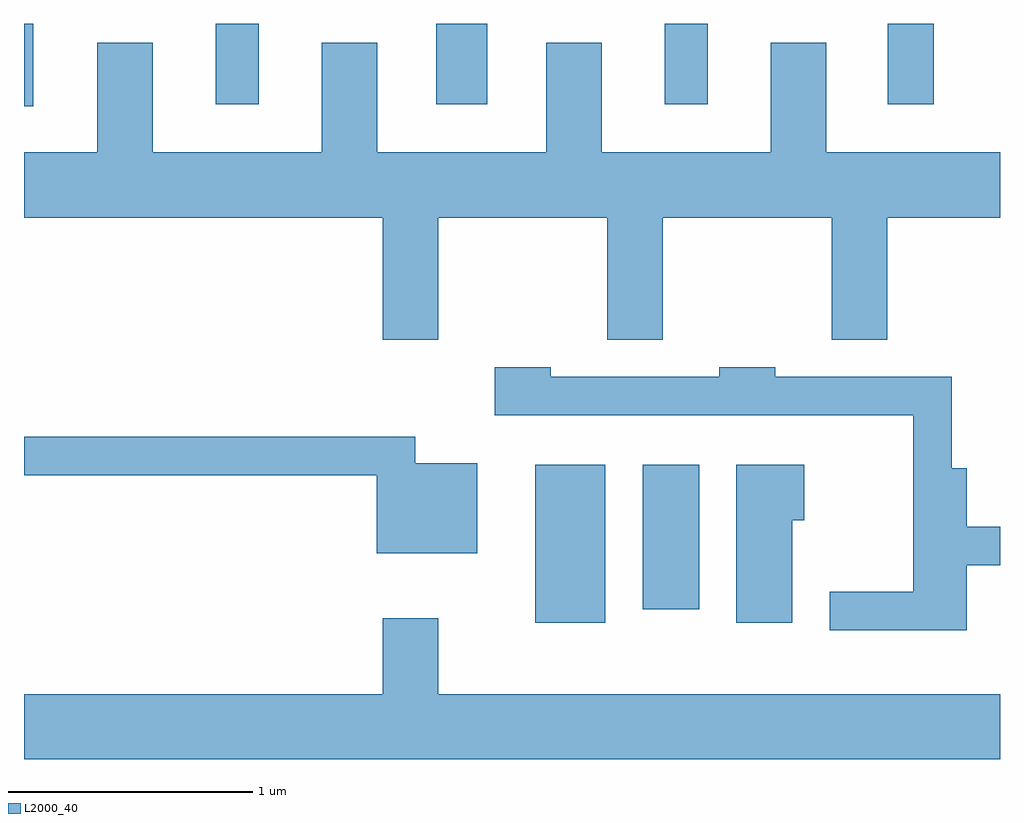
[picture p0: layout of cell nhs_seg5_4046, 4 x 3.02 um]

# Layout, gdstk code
import gdstk
lib = gdstk.Library(unit=1e-6, precision=1e-09)
def R(c, l, rs):  # rectangles x0, y0, x1, y1
    for r in rs: c.add(gdstk.rectangle(r[:2], r[2:], *l))
def P(c, l, *ps):  # polygons
    for p in ps: c.add(gdstk.Polygon(p, *l))
L2000_40 = (2000, 40)

nhs_seg5_4046 = lib.new_cell('nhs_seg5_4046')
R(nhs_seg5_4046, L2000_40, [(307.706,1419.616,307.994,1420.264), (308.146,1419.671,308.379,1420.264), (305.611,1421.733,305.649,1422.072), (306.396,1421.741,306.574,1422.072), (307.301,1421.741,307.509,1422.072), (308.236,1421.741,308.414,1422.072), (309.151,1421.741,309.339,1422.072)])
P(nhs_seg5_4046, L2000_40, [(307.309,1421.276),(308.001,1421.276),(308.001,1420.776),(308.229,1420.776),(308.229,1421.276),(308.921,1421.276),(308.921,1420.776),(309.149,1420.776),(309.149,1421.276),(309.611,1421.276),(309.611,1421.544),(308.899,1421.544),(308.899,1421.994),(308.671,1421.994),(308.671,1421.544),(307.979,1421.544),(307.979,1421.994),(307.751,1421.994),(307.751,1421.544),(307.059,1421.544),(307.059,1421.994),(306.831,1421.994),(306.831,1421.544),(306.139,1421.544),(306.139,1421.994),(305.911,1421.994),(305.911,1421.544),(305.611,1421.544),(305.611,1421.276),(307.081,1421.276),(307.081,1420.776),(307.309,1420.776)],
  [(309.474,1419.851),(309.611,1419.851),(309.611,1420.009),(309.474,1420.009),(309.474,1420.249),(309.414,1420.249),(309.414,1420.624),(308.689,1420.624),(308.689,1420.664),(308.461,1420.664),(308.461,1420.624),(307.769,1420.624),(307.769,1420.664),(307.541,1420.664),(307.541,1420.466),(309.256,1420.466),(309.256,1419.744),(308.913,1419.744),(308.913,1419.586),(309.474,1419.586)],
  [(307.469,1420.269),(307.214,1420.269),(307.214,1420.379),(305.611,1420.379),(305.611,1420.221),(307.056,1420.221),(307.056,1419.901),(307.469,1419.901)],
  [(308.759,1420.036),(308.809,1420.036),(308.809,1420.264),(308.531,1420.264),(308.531,1419.616),(308.759,1419.616)],
  [(309.611,1419.324),(307.309,1419.324),(307.309,1419.634),(307.081,1419.634),(307.081,1419.324),(305.611,1419.324),(305.611,1419.056),(309.611,1419.056)])

lib.write_gds('nhs_seg5_4046.gds')
